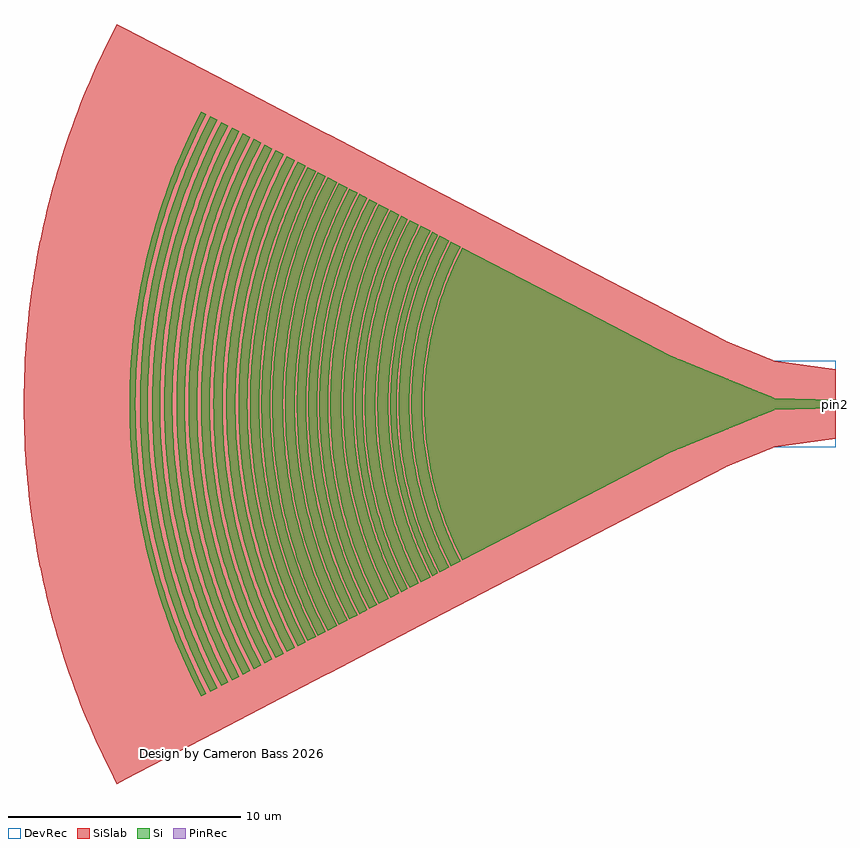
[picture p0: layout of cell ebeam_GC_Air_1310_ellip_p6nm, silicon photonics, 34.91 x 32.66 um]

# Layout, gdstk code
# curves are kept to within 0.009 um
import gdstk
lib = gdstk.Library(unit=1e-6, precision=1e-09)
def P(c, l, *ps):  # polygons
    for p in ps: c.add(gdstk.Polygon(p, *l))
Si = (1, 0)
PinRec = (1, 10)
SiSlab = (2, 0)
DevRec = (68, 0)

ebeam_gc_air_1310_ellip_ = lib.new_cell('ebeam_GC_Air_1310_ellip_p6nm')
P(ebeam_gc_air_1310_ellip_, Si, [(-16.543,-6.979),(-16.918,-6.201),(-17.256,-5.387),(-17.545,-4.555),(-17.785,-3.707),(-17.976,-2.847),(-18.116,-1.977),(-18.215,-0.954),(-18.245,-0.073),(-18.224,0.807),(-18.134,1.832),(-18.003,2.703),(-17.82,3.564),(-17.711,3.992),(-17.545,4.555),(-17.256,5.387),(-16.978,6.067),(-16.543,6.98),(-16.129,6.765),(-16.496,6.008),(-16.822,5.219),(-17.102,4.413),(-17.335,3.592),(-17.546,2.619),(-17.674,1.774),(-17.761,0.783),(-17.781,0.071),(-17.761,-0.783),(-17.674,-1.774),(-17.546,-2.618),(-17.369,-3.454),(-17.144,-4.277),(-16.872,-5.086),(-16.496,-6.008),(-16.129,-6.765)],
  [(-17.024,-7.23),(-17.412,-6.425),(-17.762,-5.582),(-18.061,-4.72),(-18.31,-3.841),(-18.507,-2.95),(-18.652,-2.049),(-18.745,-1.14),(-18.772,-0.684),(-18.786,-0.076),(-18.764,0.836),(-18.689,1.747),(-18.632,2.2),(-18.535,2.8),(-18.346,3.693),(-18.192,4.283),(-18.061,4.72),(-17.762,5.582),(-17.412,6.425),(-17.024,7.23),(-16.62,7.021),(-17.059,6.103),(-17.389,5.281),(-17.672,4.44),(-17.906,3.586),(-18.089,2.719),(-18.222,1.842),(-18.303,0.96),(-18.333,0.074),(-18.312,-0.812),(-18.222,-1.842),(-18.089,-2.719),(-17.906,-3.586),(-17.672,-4.44),(-17.389,-5.281),(-17.059,-6.103),(-16.62,-7.021)],
  [(-17.344,-7.397),(-17.677,-6.716),(-17.867,-6.288),(-18.099,-5.711),(-18.405,-4.829),(-18.66,-3.93),(-18.862,-3.018),(-18.943,-2.558),(-19.03,-1.942),(-19.116,-1.011),(-19.147,-0.078),(-19.125,0.856),(-19.03,1.942),(-18.89,2.865),(-18.697,3.779),(-18.451,4.68),(-18.154,5.565),(-17.805,6.431),(-17.344,7.397),(-17.102,7.271),(-17.555,6.322),(-17.949,5.327),(-18.098,4.892),(-18.276,4.306),(-18.395,3.864),(-18.533,3.267),(-18.697,2.363),(-18.793,1.604),(-18.852,0.842),(-18.874,0.077),(-18.859,-0.689),(-18.808,-1.451),(-18.697,-2.363),(-18.564,-3.117),(-18.467,-3.566),(-18.317,-4.158),(-18.19,-4.6),(-18,-5.182),(-17.788,-5.756),(-17.555,-6.322),(-17.102,-7.271)],
  [(-17.84,-7.655),(-18.315,-6.656),(-18.677,-5.76),(-18.985,-4.844),(-19.239,-3.911),(-19.439,-2.965),(-19.583,-2.01),(-19.672,-1.046),(-19.705,-0.08),(-19.681,0.886),(-19.602,1.85),(-19.467,2.807),(-19.346,3.44),(-19.239,3.911),(-18.985,4.844),(-18.677,5.76),(-18.316,6.656),(-17.84,7.655),(-17.422,7.438),(-17.886,6.468),(-18.18,5.743),(-18.489,4.855),(-18.745,3.952),(-18.977,2.881),(-19.117,1.952),(-19.181,1.329),(-19.213,0.861),(-19.235,0.078),(-19.213,-0.861),(-19.181,-1.329),(-19.117,-1.952),(-18.977,-2.881),(-18.782,-3.8),(-18.535,-4.706),(-18.235,-5.596),(-17.886,-6.468),(-17.422,-7.438)],
  [(-18.32,-7.905),(-18.744,-7.025),(-19.005,-6.413),(-19.184,-5.948),(-19.503,-5.002),(-19.765,-4.038),(-19.971,-3.062),(-20.121,-2.075),(-20.212,-1.081),(-20.246,-0.083),(-20.222,0.915),(-20.14,1.91),(-20,2.898),(-19.804,3.877),(-19.641,4.523),(-19.503,5.002),(-19.184,5.948),(-18.812,6.874),(-18.605,7.329),(-18.32,7.905),(-17.919,7.697),(-18.333,6.841),(-18.76,5.791),(-19.07,4.87),(-19.326,3.933),(-19.527,2.981),(-19.672,2.02),(-19.762,1.053),(-19.795,0.081),(-19.771,-0.891),(-19.691,-1.859),(-19.555,-2.822),(-19.466,-3.3),(-19.326,-3.932),(-19.07,-4.869),(-18.76,-5.791),(-18.333,-6.841),(-17.919,-7.697)],
  [(-18.682,-8.093),(-18.974,-7.502),(-19.186,-7.036),(-19.508,-6.248),(-19.843,-5.283),(-20.035,-4.63),(-20.162,-4.134),(-20.373,-3.135),(-20.526,-2.124),(-20.62,-1.106),(-20.654,-0.085),(-20.63,0.936),(-20.546,1.956),(-20.403,2.967),(-20.275,3.636),(-20.162,4.134),(-20.035,4.63),(-19.843,5.283),(-19.508,6.248),(-19.186,7.037),(-18.974,7.503),(-18.682,8.093),(-18.398,7.947),(-18.614,7.517),(-18.893,6.91),(-19.148,6.292),(-19.38,5.664),(-19.538,5.187),(-19.726,4.545),(-19.89,3.897),(-19.996,3.407),(-20.141,2.583),(-20.246,1.753),(-20.311,0.92),(-20.335,0.084),(-20.311,-0.92),(-20.246,-1.753),(-20.141,-2.583),(-19.996,-3.407),(-19.89,-3.897),(-19.726,-4.545),(-19.538,-5.187),(-19.38,-5.664),(-19.148,-6.291),(-18.959,-6.756),(-18.686,-7.366),(-18.398,-7.946)],
  [(-19.14,-8.332),(-19.587,-7.405),(-19.863,-6.759),(-20.052,-6.269),(-20.387,-5.272),(-20.664,-4.256),(-20.881,-3.227),(-21.039,-2.187),(-21.135,-1.139),(-21.171,-0.088),(-21.161,0.614),(-21.135,1.139),(-21.039,2.187),(-20.881,3.227),(-20.664,4.256),(-20.387,5.272),(-20.052,6.269),(-19.659,7.245),(-19.441,7.724),(-19.14,8.332),(-18.761,8.135),(-19.199,7.23),(-19.466,6.599),(-19.65,6.12),(-19.978,5.146),(-20.249,4.156),(-20.461,3.151),(-20.615,2.135),(-20.709,1.113),(-20.744,0.086),(-20.719,-0.942),(-20.635,-1.965),(-20.491,-2.982),(-20.397,-3.487),(-20.249,-4.156),(-19.978,-5.146),(-19.65,-6.12),(-19.466,-6.599),(-19.199,-7.229),(-18.761,-8.135)],
  [(-19.639,-8.592),(-20.098,-7.638),(-20.514,-6.636),(-20.869,-5.611),(-21.165,-4.566),(-21.399,-3.507),(-21.572,-2.436),(-21.682,-1.355),(-21.713,-0.814),(-21.731,-0.09),(-21.705,0.994),(-21.615,2.077),(-21.464,3.151),(-21.328,3.861),(-21.208,4.391),(-20.923,5.438),(-20.699,6.126),(-20.514,6.636),(-20.172,7.473),(-19.947,7.968),(-19.639,8.592),(-19.219,8.374),(-19.669,7.442),(-20.073,6.465),(-20.253,5.968),(-20.472,5.298),(-20.708,4.449),(-20.936,3.417),(-21.105,2.373),(-21.183,1.672),(-21.224,1.145),(-21.26,0.088),(-21.255,-0.441),(-21.224,-1.145),(-21.127,-2.197),(-20.969,-3.243),(-20.75,-4.278),(-20.472,-5.297),(-20.253,-5.968),(-20.073,-6.465),(-19.669,-7.442),(-19.219,-8.374)],
  [(-20.054,-8.808),(-20.526,-7.828),(-20.952,-6.801),(-21.317,-5.75),(-21.62,-4.679),(-21.86,-3.594),(-22.037,-2.496),(-22.15,-1.389),(-22.182,-0.834),(-22.2,-0.093),(-22.173,1.019),(-22.082,2.128),(-22.012,2.68),(-21.894,3.412),(-21.664,4.5),(-21.476,5.218),(-21.317,5.75),(-20.952,6.801),(-20.602,7.659),(-20.371,8.166),(-20.054,8.808),(-19.721,8.635),(-20.184,7.676),(-20.6,6.668),(-20.958,5.638),(-21.255,4.589),(-21.491,3.524),(-21.585,2.987),(-21.687,2.267),(-21.787,1.181),(-21.824,0.091),(-21.814,-0.636),(-21.745,-1.724),(-21.64,-2.627),(-21.456,-3.702),(-21.34,-4.235),(-21.163,-4.94),(-20.958,-5.637),(-20.726,-6.327),(-20.535,-6.837),(-20.258,-7.509),(-19.954,-8.169),(-19.721,-8.635)],
  [(-20.474,-9.027),(-20.959,-8.021),(-21.186,-7.498),(-21.396,-6.968),(-21.769,-5.892),(-22.08,-4.795),(-22.211,-4.24),(-22.361,-3.496),(-22.531,-2.369),(-22.636,-1.234),(-22.675,-0.095),(-22.647,1.044),(-22.553,2.181),(-22.394,3.309),(-22.29,3.869),(-22.125,4.611),(-21.825,5.711),(-21.652,6.253),(-21.396,6.968),(-21.037,7.847),(-20.719,8.538),(-20.474,9.027),(-20.133,8.85),(-20.609,7.865),(-21.035,6.833),(-21.401,5.777),(-21.611,5.062),(-21.751,4.521),(-21.982,3.428),(-22.149,2.323),(-22.251,1.21),(-22.279,0.652),(-22.289,0.093),(-22.271,-0.838),(-22.208,-1.767),(-22.1,-2.692),(-21.912,-3.794),(-21.794,-4.34),(-21.611,-5.062),(-21.401,-5.777),(-21.226,-6.307),(-20.968,-7.006),(-20.757,-7.524),(-20.453,-8.203),(-20.133,-8.85)],
  [(-20.909,-9.253),(-21.407,-8.219),(-21.639,-7.683),(-21.854,-7.141),(-22.237,-6.038),(-22.556,-4.914),(-22.69,-4.345),(-22.844,-3.582),(-23.019,-2.428),(-23.126,-1.264),(-23.165,-0.097),(-23.16,0.487),(-23.126,1.264),(-23.019,2.428),(-22.844,3.583),(-22.602,4.725),(-22.295,5.852),(-21.923,6.959),(-21.486,8.042),(-21.244,8.574),(-20.909,9.253),(-20.557,9.07),(-20.887,8.404),(-21.123,7.884),(-21.55,6.821),(-21.915,5.736),(-22.217,4.632),(-22.454,3.512),(-22.625,2.38),(-22.73,1.24),(-22.769,0.096),(-22.75,-0.859),(-22.686,-1.81),(-22.575,-2.758),(-22.382,-3.887),(-22.217,-4.632),(-22.074,-5.186),(-21.859,-5.918),(-21.679,-6.462),(-21.483,-7),(-21.198,-7.708),(-20.887,-8.404),(-20.557,-9.07)],
  [(-21.36,-9.488),(-21.704,-8.793),(-21.951,-8.246),(-22.184,-7.694),(-22.399,-7.136),(-22.781,-6.001),(-23.096,-4.845),(-23.344,-3.674),(-23.523,-2.49),(-23.633,-1.296),(-23.673,-0.1),(-23.668,0.499),(-23.633,1.297),(-23.523,2.49),(-23.344,3.674),(-23.096,4.845),(-22.781,6.001),(-22.399,7.136),(-22.184,7.695),(-21.951,8.247),(-21.704,8.793),(-21.36,9.488),(-20.987,9.294),(-21.489,8.257),(-21.937,7.173),(-22.322,6.064),(-22.49,5.502),(-22.688,4.746),(-22.931,3.598),(-23.107,2.438),(-23.214,1.271),(-23.243,0.685),(-23.254,0.098),(-23.249,-0.489),(-23.226,-1.075),(-23.169,-1.855),(-23.107,-2.438),(-22.931,-3.598),(-22.688,-4.746),(-22.49,-5.502),(-22.322,-6.064),(-21.937,-7.172),(-21.489,-8.257),(-20.987,-9.294)],
  [(-21.848,-9.741),(-22.199,-9.03),(-22.453,-8.469),(-22.692,-7.902),(-22.913,-7.328),(-23.118,-6.749),(-23.305,-6.163),(-23.476,-5.572),(-23.629,-4.976),(-23.765,-4.376),(-23.883,-3.773),(-23.984,-3.166),(-24.067,-2.557),(-24.18,-1.331),(-24.21,-0.717),(-24.221,-0.102),(-24.192,1.127),(-24.091,2.354),(-23.984,3.166),(-23.883,3.773),(-23.765,4.376),(-23.629,4.976),(-23.476,5.573),(-23.305,6.163),(-23.118,6.749),(-22.913,7.329),(-22.692,7.902),(-22.454,8.469),(-22.111,9.215),(-21.848,9.742),(-21.438,9.529),(-21.952,8.466),(-22.411,7.355),(-22.806,6.218),(-23.134,5.062),(-23.273,4.476),(-23.394,3.887),(-23.586,2.699),(-23.708,1.503),(-23.743,0.902),(-23.762,0.1),(-23.733,-1.103),(-23.675,-1.902),(-23.611,-2.5),(-23.431,-3.69),(-23.182,-4.867),(-22.865,-6.027),(-22.482,-7.167),(-22.265,-7.728),(-21.952,-8.466),(-21.438,-9.529)],
  [(-22.262,-9.957),(-22.796,-8.847),(-23.046,-8.27),(-23.278,-7.686),(-23.492,-7.096),(-23.752,-6.299),(-24.083,-5.086),(-24.342,-3.856),(-24.445,-3.236),(-24.53,-2.613),(-24.597,-1.988),(-24.646,-1.361),(-24.688,-0.105),(-24.682,0.524),(-24.658,1.152),(-24.555,2.405),(-24.476,3.029),(-24.379,3.65),(-24.264,4.268),(-24.083,5.086),(-23.752,6.299),(-23.56,6.898),(-23.278,7.686),(-22.882,8.656),(-22.531,9.418),(-22.262,9.957),(-21.926,9.783),(-22.28,9.067),(-22.535,8.506),(-22.849,7.745),(-23.066,7.166),(-23.266,6.582),(-23.505,5.794),(-23.665,5.198),(-23.851,4.395),(-23.97,3.789),(-24.071,3.179),(-24.2,2.158),(-24.28,1.132),(-24.31,0.103),(-24.304,-0.515),(-24.28,-1.132),(-24.2,-2.158),(-24.071,-3.179),(-23.97,-3.789),(-23.851,-4.395),(-23.665,-5.198),(-23.505,-5.793),(-23.266,-6.581),(-23.066,-7.166),(-22.773,-7.936),(-22.452,-8.694),(-21.926,-9.783)],
  [(-22.696,-10.183),(-22.973,-9.63),(-23.244,-9.046),(-23.5,-8.456),(-23.737,-7.859),(-23.956,-7.255),(-24.158,-6.645),(-24.4,-5.823),(-24.56,-5.2),(-24.702,-4.573),(-24.825,-3.943),(-24.931,-3.309),(-25.018,-2.672),(-25.086,-2.033),(-25.136,-1.391),(-25.167,-0.75),(-25.179,-0.107),(-25.173,0.536),(-25.148,1.178),(-25.105,1.819),(-25.043,2.459),(-24.962,3.097),(-24.863,3.732),(-24.702,4.573),(-24.56,5.2),(-24.4,5.823),(-24.221,6.441),(-24.025,7.053),(-23.812,7.659),(-23.581,8.258),(-23.331,8.851),(-22.973,9.63),(-22.696,10.183),(-22.343,10),(-22.706,9.267),(-22.967,8.693),(-23.288,7.915),(-23.509,7.324),(-23.778,6.526),(-23.958,5.921),(-24.122,5.311),(-24.312,4.492),(-24.504,3.458),(-24.647,2.415),(-24.738,1.367),(-24.769,0.737),(-24.781,0.105),(-24.761,-0.947),(-24.724,-1.577),(-24.669,-2.205),(-24.537,-3.249),(-24.354,-4.286),(-24.221,-4.903),(-24.015,-5.718),(-23.778,-6.526),(-23.509,-7.324),(-23.288,-7.915),(-22.967,-8.693),(-22.706,-9.267),(-22.343,-10)],
  [(-23.128,-10.408),(-23.414,-9.837),(-23.691,-9.241),(-23.952,-8.638),(-24.195,-8.028),(-24.419,-7.411),(-24.626,-6.788),(-24.814,-6.159),(-24.984,-5.524),(-25.135,-4.886),(-25.268,-4.243),(-25.382,-3.596),(-25.477,-2.947),(-25.553,-2.295),(-25.625,-1.421),(-25.657,-0.766),(-25.669,-0.109),(-25.663,0.547),(-25.638,1.203),(-25.593,1.858),(-25.53,2.512),(-25.447,3.164),(-25.308,4.028),(-25.181,4.672),(-25.036,5.312),(-24.872,5.949),(-24.69,6.579),(-24.49,7.205),(-24.272,7.824),(-24.035,8.436),(-23.78,9.041),(-23.509,9.64),(-23.128,10.408),(-22.791,10.234),(-23.164,9.479),(-23.517,8.695),(-23.76,8.097),(-23.986,7.492),(-24.261,6.676),(-24.446,6.057),(-24.665,5.225),(-24.808,4.595),(-25.005,3.537),(-25.098,2.898),(-25.173,2.256),(-25.256,1.184),(-25.288,0.108),(-25.267,-0.969),(-25.229,-1.613),(-25.173,-2.256),(-25.005,-3.537),(-24.808,-4.595),(-24.665,-5.225),(-24.446,-6.057),(-24.261,-6.676),(-23.986,-7.492),(-23.76,-8.097),(-23.43,-8.892),(-23.164,-9.479),(-22.791,-10.233)],
  [(-23.597,-10.653),(-23.893,-10.062),(-24.177,-9.453),(-24.444,-8.836),(-24.692,-8.212),(-24.922,-7.581),(-25.133,-6.944),(-25.326,-6.3),(-25.5,-5.651),(-25.655,-4.997),(-25.79,-4.34),(-25.942,-3.457),(-26.033,-2.792),(-26.104,-2.124),(-26.156,-1.454),(-26.189,-0.783),(-26.202,-0.112),(-26.195,0.56),(-26.169,1.231),(-26.124,1.901),(-26.059,2.57),(-25.974,3.236),(-25.87,3.9),(-25.702,4.779),(-25.553,5.434),(-25.386,6.085),(-25.199,6.73),(-24.994,7.37),(-24.771,8.003),(-24.529,8.629),(-24.268,9.248),(-23.99,9.861),(-23.597,10.653),(-23.249,10.472),(-23.539,9.894),(-23.907,9.095),(-24.162,8.486),(-24.475,7.663),(-24.689,7.038),(-24.946,6.195),(-25.17,5.344),(-25.316,4.7),(-25.518,3.617),(-25.667,2.526),(-25.748,1.65),(-25.775,1.211),(-25.807,0.11),(-25.786,-0.991),(-25.748,-1.65),(-25.69,-2.307),(-25.552,-3.4),(-25.443,-4.051),(-25.316,-4.7),(-25.17,-5.344),(-24.946,-6.195),(-24.689,-7.037),(-24.475,-7.662),(-24.162,-8.486),(-23.906,-9.095),(-23.634,-9.695),(-23.249,-10.472)],
  [(-24.08,-10.904),(-24.582,-9.88),(-24.861,-9.251),(-25.204,-8.401),(-25.439,-7.756),(-25.723,-6.885),(-25.914,-6.225),(-26.085,-5.559),(-26.237,-4.889),(-26.37,-4.215),(-26.483,-3.537),(-26.576,-2.856),(-26.649,-2.173),(-26.702,-1.487),(-26.736,-0.801),(-26.749,-0.114),(-26.742,0.573),(-26.716,1.259),(-26.649,2.173),(-26.576,2.857),(-26.483,3.537),(-26.37,4.215),(-26.237,4.889),(-26.085,5.559),(-25.914,6.225),(-25.723,6.885),(-25.439,7.756),(-25.204,8.401),(-24.95,9.04),(-24.582,9.88),(-24.08,10.904),(-23.737,10.726),(-24.037,10.128),(-24.414,9.31),(-24.759,8.477),(-24.996,7.844),(-25.284,6.989),(-25.478,6.341),(-25.708,5.47),(-25.857,4.811),(-26.064,3.703),(-26.217,2.586),(-26.315,1.464),(-26.348,0.789),(-26.361,0.113),(-26.339,-1.014),(-26.299,-1.689),(-26.241,-2.362),(-26.099,-3.48),(-25.903,-4.59),(-25.76,-5.251),(-25.539,-6.124),(-25.284,-6.989),(-24.996,-7.844),(-24.759,-8.477),(-24.413,-9.31),(-24.037,-10.128),(-23.737,-10.726)],
  [(-24.55,-11.149),(-24.865,-10.522),(-25.162,-9.884),(-25.442,-9.239),(-25.701,-8.587),(-25.942,-7.927),(-26.163,-7.261),(-26.427,-6.363),(-26.603,-5.682),(-26.758,-4.997),(-26.894,-4.308),(-27.009,-3.615),(-27.104,-2.92),(-27.179,-2.221),(-27.234,-1.52),(-27.268,-0.819),(-27.281,-0.117),(-27.268,0.819),(-27.234,1.521),(-27.179,2.222),(-27.104,2.92),(-27.009,3.615),(-26.894,4.308),(-26.758,4.997),(-26.603,5.682),(-26.427,6.363),(-26.163,7.261),(-25.942,7.927),(-25.701,8.587),(-25.442,9.24),(-25.162,9.884),(-24.865,10.522),(-24.55,11.149),(-24.218,10.977),(-24.628,10.152),(-24.915,9.523),(-25.267,8.671),(-25.51,8.023),(-25.805,7.149),(-26.003,6.487),(-26.183,5.818),(-26.391,4.921),(-26.603,3.788),(-26.759,2.645),(-26.86,1.498),(-26.893,0.807),(-26.906,0.115),(-26.9,-0.576),(-26.873,-1.268),(-26.783,-2.416),(-26.703,-3.103),(-26.603,-3.788),(-26.391,-4.921),(-26.183,-5.818),(-26.003,-6.486),(-25.805,-7.149),(-25.51,-8.023),(-25.267,-8.671),(-24.915,-9.523),(-24.628,-10.152),(-24.218,-10.977)],
  [(-25.023,-11.395),(-25.346,-10.752),(-25.65,-10.101),(-25.935,-9.442),(-26.201,-8.775),(-26.446,-8.101),(-26.672,-7.42),(-26.879,-6.732),(-27.065,-6.038),(-27.23,-5.34),(-27.376,-4.637),(-27.5,-3.931),(-27.605,-3.221),(-27.688,-2.508),(-27.751,-1.792),(-27.802,-0.837),(-27.816,-0.12),(-27.809,0.598),(-27.781,1.315),(-27.732,2.031),(-27.663,2.746),(-27.572,3.458),(-27.42,4.402),(-27.281,5.107),(-27.122,5.806),(-26.943,6.502),(-26.743,7.192),(-26.524,7.875),(-26.201,8.775),(-25.935,9.442),(-25.65,10.101),(-25.346,10.752),(-25.023,11.395),(-24.698,11.227),(-25.017,10.593),(-25.412,9.737),(-25.685,9.085),(-26.021,8.204),(-26.25,7.535),(-26.525,6.633),(-26.709,5.95),(-26.922,5.032),(-27.138,3.873),(-27.298,2.705),(-27.367,2.001),(-27.415,1.296),(-27.449,0.118),(-27.442,-0.589),(-27.415,-1.296),(-27.323,-2.47),(-27.175,-3.64),(-27.059,-4.338),(-26.922,-5.032),(-26.709,-5.95),(-26.525,-6.632),(-26.25,-7.535),(-26.021,-8.204),(-25.772,-8.866),(-25.412,-9.737),(-25.017,-10.593),(-24.698,-11.226)],
  [(-25.485,-11.635),(-25.815,-10.978),(-26.125,-10.313),(-26.416,-9.64),(-26.687,-8.959),(-26.938,-8.271),(-27.169,-7.576),(-27.38,-6.874),(-27.57,-6.165),(-27.791,-5.214),(-27.932,-4.495),(-28.053,-3.772),(-28.152,-3.046),(-28.23,-2.318),(-28.287,-1.586),(-28.322,-0.855),(-28.337,-0.122),(-28.322,0.855),(-28.287,1.586),(-28.23,2.318),(-28.152,3.046),(-28.053,3.772),(-27.932,4.495),(-27.791,5.214),(-27.628,5.928),(-27.445,6.639),(-27.242,7.342),(-27.018,8.04),(-26.773,8.731),(-26.509,9.414),(-26.225,10.09),(-25.815,10.978),(-25.485,11.635),(-25.172,11.473),(-25.603,10.607),(-25.902,9.95),(-26.271,9.06),(-26.525,8.383),(-26.833,7.47),(-27.04,6.778),(-27.228,6.08),(-27.395,5.377),(-27.541,4.669),(-27.667,3.958),(-27.83,2.764),(-27.9,2.045),(-27.949,1.325),(-27.984,0.121),(-27.961,-1.084),(-27.919,-1.805),(-27.856,-2.524),(-27.772,-3.242),(-27.667,-3.957),(-27.446,-5.141),(-27.228,-6.08),(-27.04,-6.777),(-26.833,-7.47),(-26.525,-8.383),(-26.271,-9.06),(-25.901,-9.95),(-25.603,-10.607),(-25.172,-11.473)],
  [(-25.95,-11.877),(-26.287,-11.206),(-26.604,-10.527),(-26.901,-9.841),(-27.178,-9.146),(-27.434,-8.443),(-27.67,-7.733),(-27.885,-7.017),(-28.079,-6.293),(-28.304,-5.322),(-28.449,-4.588),(-28.571,-3.85),(-28.673,-3.109),(-28.753,-2.366),(-28.811,-1.619),(-28.847,-0.872),(-28.861,-0.125),(-28.847,0.872),(-28.811,1.619),(-28.753,2.366),(-28.673,3.11),(-28.571,3.851),(-28.449,4.588),(-28.304,5.322),(-28.138,6.051),(-27.952,6.777),(-27.744,7.495),(-27.515,8.207),(-27.266,8.912),(-26.996,9.61),(-26.706,10.299),(-26.395,10.981),(-25.95,11.878),(-25.642,11.718),(-25.976,11.055),(-26.388,10.162),(-26.764,9.252),(-27.024,8.561),(-27.263,7.863),(-27.551,6.922),(-27.801,5.971),(-27.965,5.251),(-28.19,4.042),(-28.357,2.823),(-28.429,2.088),(-28.479,1.353),(-28.515,0.123),(-28.507,-0.615),(-28.479,-1.353),(-28.383,-2.578),(-28.228,-3.798),(-28.107,-4.526),(-27.965,-5.251),(-27.801,-5.971),(-27.551,-6.921),(-27.263,-7.863),(-27.024,-8.561),(-26.673,-9.481),(-26.387,-10.161),(-25.976,-11.054),(-25.642,-11.718)],
  [(-26.409,-12.116),(-26.753,-11.431),(-27.076,-10.739),(-27.379,-10.038),(-27.661,-9.329),(-27.923,-8.612),(-28.163,-7.888),(-28.382,-7.157),(-28.58,-6.42),(-28.81,-5.429),(-28.958,-4.68),(-29.083,-3.928),(-29.186,-3.172),(-29.268,-2.413),(-29.327,-1.652),(-29.364,-0.89),(-29.379,-0.127),(-29.371,0.636),(-29.342,1.398),(-29.29,2.159),(-29.216,2.92),(-29.12,3.676),(-28.958,4.68),(-28.81,5.429),(-28.641,6.173),(-28.451,6.913),(-28.239,7.646),(-28.005,8.372),(-27.751,9.091),(-27.476,9.803),(-27.18,10.506),(-26.863,11.202),(-26.409,12.116),(-26.111,11.962),(-26.452,11.285),(-26.771,10.603),(-27.069,9.911),(-27.436,8.976),(-27.687,8.265),(-27.99,7.307),(-28.255,6.338),(-28.429,5.606),(-28.582,4.868),(-28.713,4.126),(-28.883,2.882),(-28.993,1.632),(-29.029,0.879),(-29.044,0.126),(-29.036,-0.628),(-29.007,-1.381),(-28.91,-2.632),(-28.822,-3.38),(-28.713,-4.126),(-28.482,-5.36),(-28.255,-6.338),(-28.06,-7.065),(-27.843,-7.787),(-27.522,-8.739),(-27.257,-9.445),(-26.872,-10.373),(-26.561,-11.058),(-26.111,-11.962)],
  [(-26.879,-12.361),(-27.335,-11.442),(-27.657,-10.732),(-27.96,-10.013),(-28.241,-9.286),(-28.5,-8.552),(-28.738,-7.81),(-28.954,-7.061),(-29.149,-6.305),(-29.321,-5.545),(-29.471,-4.781),(-29.599,-4.012),(-29.705,-3.24),(-29.787,-2.465),(-29.848,-1.687),(-29.886,-0.909),(-29.901,-0.13),(-29.886,0.909),(-29.848,1.687),(-29.787,2.465),(-29.705,3.24),(-29.599,4.012),(-29.471,4.781),(-29.321,5.546),(-29.149,6.305),(-28.954,7.061),(-28.738,7.81),(-28.5,8.552),(-28.241,9.287),(-27.96,10.013),(-27.657,10.732),(-27.335,11.442),(-26.879,12.362),(-26.578,12.206),(-27.037,11.283),(-27.356,10.584),(-27.748,9.637),(-28.018,8.917),(-28.267,8.19),(-28.495,7.455),(-28.766,6.468),(-28.943,5.72),(-29.191,4.462),(-29.31,3.703),(-29.407,2.94),(-29.481,2.175),(-29.533,1.409),(-29.571,0.128),(-29.546,-1.153),(-29.501,-1.92),(-29.434,-2.685),(-29.273,-3.956),(-29.146,-4.715),(-28.998,-5.469),(-28.766,-6.467),(-28.566,-7.209),(-28.346,-7.946),(-28.018,-8.917),(-27.748,-9.637),(-27.356,-10.584),(-27.037,-11.283),(-26.578,-12.205)],
  [(-27.277,-12.569),(-27.634,-11.856),(-27.969,-11.138),(-28.283,-10.412),(-28.575,-9.676),(-28.832,-8.974),(-29.095,-8.182),(-29.322,-7.424),(-29.527,-6.659),(-29.709,-5.889),(-29.869,-5.114),(-30.007,-4.334),(-30.122,-3.552),(-30.239,-2.503),(-30.295,-1.794),(-30.339,-0.923),(-30.354,-0.132),(-30.346,0.659),(-30.316,1.45),(-30.239,2.503),(-30.155,3.29),(-30.048,4.074),(-29.918,4.855),(-29.765,5.631),(-29.59,6.403),(-29.393,7.17),(-29.173,7.93),(-28.932,8.684),(-28.668,9.43),(-28.383,10.168),(-28.077,10.897),(-27.748,11.619),(-27.277,12.569),(-27.057,12.455),(-27.517,11.527),(-27.842,10.813),(-28.242,9.846),(-28.518,9.11),(-28.852,8.118),(-29.078,7.365),(-29.281,6.608),(-29.462,5.844),(-29.621,5.074),(-29.757,4.301),(-29.934,3.004),(-30.049,1.701),(-30.087,0.916),(-30.102,0.131),(-30.077,-1.178),(-30.031,-1.962),(-29.962,-2.743),(-29.871,-3.523),(-29.757,-4.301),(-29.621,-5.074),(-29.462,-5.843),(-29.281,-6.608),(-29.078,-7.365),(-28.852,-8.118),(-28.518,-9.11),(-28.242,-9.846),(-27.841,-10.813),(-27.517,-11.527),(-27.057,-12.455)],
  [(-16.051,-6.724),(-16.415,-5.971),(-16.79,-5.055),(-17.019,-4.386),(-17.284,-3.432),(-17.46,-2.602),(-17.587,-1.764),(-17.665,-0.918),(-17.693,-0.071),(-17.665,0.918),(-17.587,1.764),(-17.46,2.603),(-17.284,3.432),(-17.019,4.386),(-16.79,5.055),(-16.473,5.842),(-16.051,6.724),(-7.09,2.062),(-2.649,0.256),(0,0.175),(0,-0.175),(-2.675,-0.263),(-2.844,-0.343),(-3.198,-0.476),(-7.09,-2.062)])
P(ebeam_gc_air_1310_ellip_, SiSlab, [(-30.904,-16.329),(-31.366,-15.41),(-31.801,-14.477),(-32.208,-13.533),(-32.588,-12.577),(-32.94,-11.61),(-33.264,-10.634),(-33.559,-9.648),(-33.825,-8.655),(-34.062,-7.654),(-34.27,-6.647),(-34.449,-5.634),(-34.598,-4.616),(-34.717,-3.594),(-34.807,-2.569),(-34.867,-1.543),(-34.9,-0.171),(-34.89,0.857),(-34.85,1.885),(-34.781,2.912),(-34.681,3.935),(-34.552,4.956),(-34.393,5.972),(-34.135,7.319),(-33.907,8.322),(-33.651,9.318),(-33.365,10.307),(-33.051,11.286),(-32.709,12.256),(-32.338,13.216),(-31.94,14.164),(-31.366,15.41),(-30.904,16.329),(-4.744,2.708),(-2.65,1.855),(0,1.5),(0,-1.5),(-2.65,-1.855),(-4.728,-2.7)])
P(ebeam_gc_air_1310_ellip_, DevRec, [(-30.904,-16.329),(-31.366,-15.41),(-31.801,-14.477),(-32.208,-13.533),(-32.588,-12.577),(-32.94,-11.61),(-33.264,-10.634),(-33.559,-9.648),(-33.825,-8.655),(-34.062,-7.654),(-34.27,-6.647),(-34.449,-5.634),(-34.598,-4.616),(-34.717,-3.594),(-34.807,-2.569),(-34.867,-1.543),(-34.9,-0.171),(-34.89,0.857),(-34.85,1.885),(-34.781,2.912),(-34.681,3.935),(-34.552,4.956),(-34.393,5.972),(-34.135,7.319),(-33.907,8.322),(-33.651,9.318),(-33.365,10.307),(-33.051,11.286),(-32.709,12.256),(-32.338,13.216),(-31.94,14.164),(-31.366,15.41),(-30.904,16.329),(-4.744,2.708),(-2.65,1.855),(0,1.855),(0,-1.855),(-2.65,-1.855),(-4.728,-2.7)])
ebeam_gc_air_1310_ellip_.add(gdstk.FlexPath([(-0.01,0),(0.01,0)], 0.35, ends="flush", simple_path=True, layer=1, datatype=10))  # PinRec
ebeam_gc_air_1310_ellip_.add(gdstk.Label('pin2', (0,0), layer=1, texttype=10))
ebeam_gc_air_1310_ellip_.add(gdstk.Label('Design by Cameron Bass 2026', (-25.94,-15.02), layer=10, texttype=0))

lib.write_gds('ebeam_GC_Air_1310_ellip_p6nm.gds')
